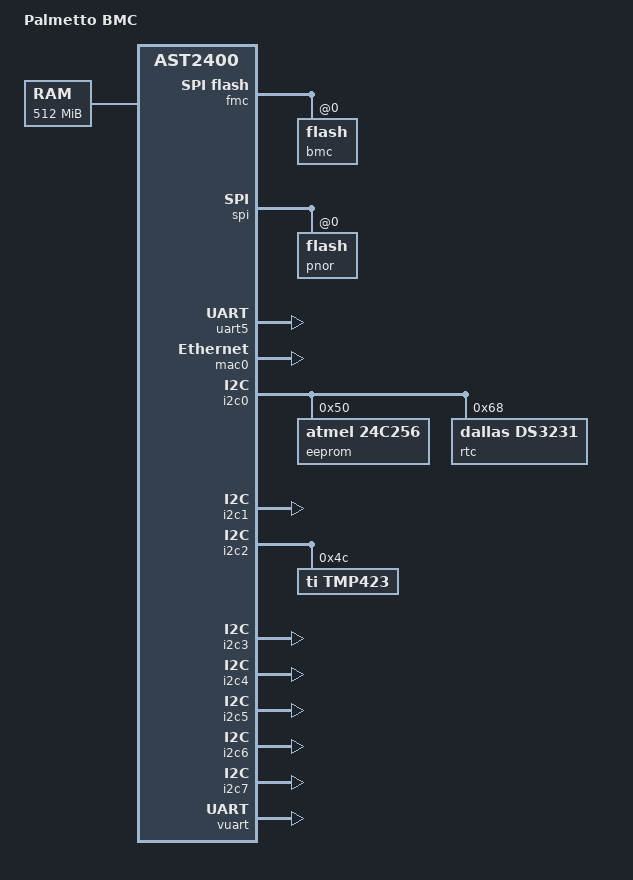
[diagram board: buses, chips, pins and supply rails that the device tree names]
// SPDX-License-Identifier: GPL-2.0+
/dts-v1/;

#include "aspeed-g4.dtsi"

/ {
	model = "Palmetto BMC";
	compatible = "tyan,palmetto-bmc", "aspeed,ast2400";

	chosen {
		stdout-path = &uart5;
		bootargs = "console=ttyS4,115200 earlyprintk";
	};

	memory@40000000 {
		reg = <0x40000000 0x20000000>;
	};

	reserved-memory {
		#address-cells = <1>;
		#size-cells = <1>;
		ranges;

		vga_memory: framebuffer@5f000000 {
			no-map;
			reg = <0x5f000000 0x01000000>; /* 16M */
		};
	};
};

&fmc {
	status = "okay";
	flash@0 {
		status = "okay";
		m25p,fast-read;
		label = "bmc";
#include "openbmc-flash-layout.dtsi"
	};
};

&spi {
	status = "okay";
	flash@0 {
		status = "okay";
		m25p,fast-read;
		label = "pnor";
	};
};

&uart5 {
	status = "okay";
};

&mac0 {
	status = "okay";

	use-ncsi;

	pinctrl-names = "default";
	pinctrl-0 = <&pinctrl_rmii1_default>;
};

&i2c0 {
	status = "okay";

	eeprom@50 {
		compatible = "atmel,24c256";
		reg = <0x50>;
		pagesize = <64>;
	};

	rtc@68 {
		compatible = "dallas,ds3231";
		reg = <0x68>;
	};
};

&i2c1 {
	status = "okay";
};

&i2c2 {
	status = "okay";

	tmp423@4c {
		compatible = "ti,tmp423";
		reg = <0x4c>;
	};
};

&i2c3 {
	status = "okay";
};

&i2c4 {
	status = "okay";
};

&i2c5 {
	status = "okay";
};

&i2c6 {
	status = "okay";
};

&i2c7 {
	status = "okay";
};

&vuart {
	status = "okay";
};
